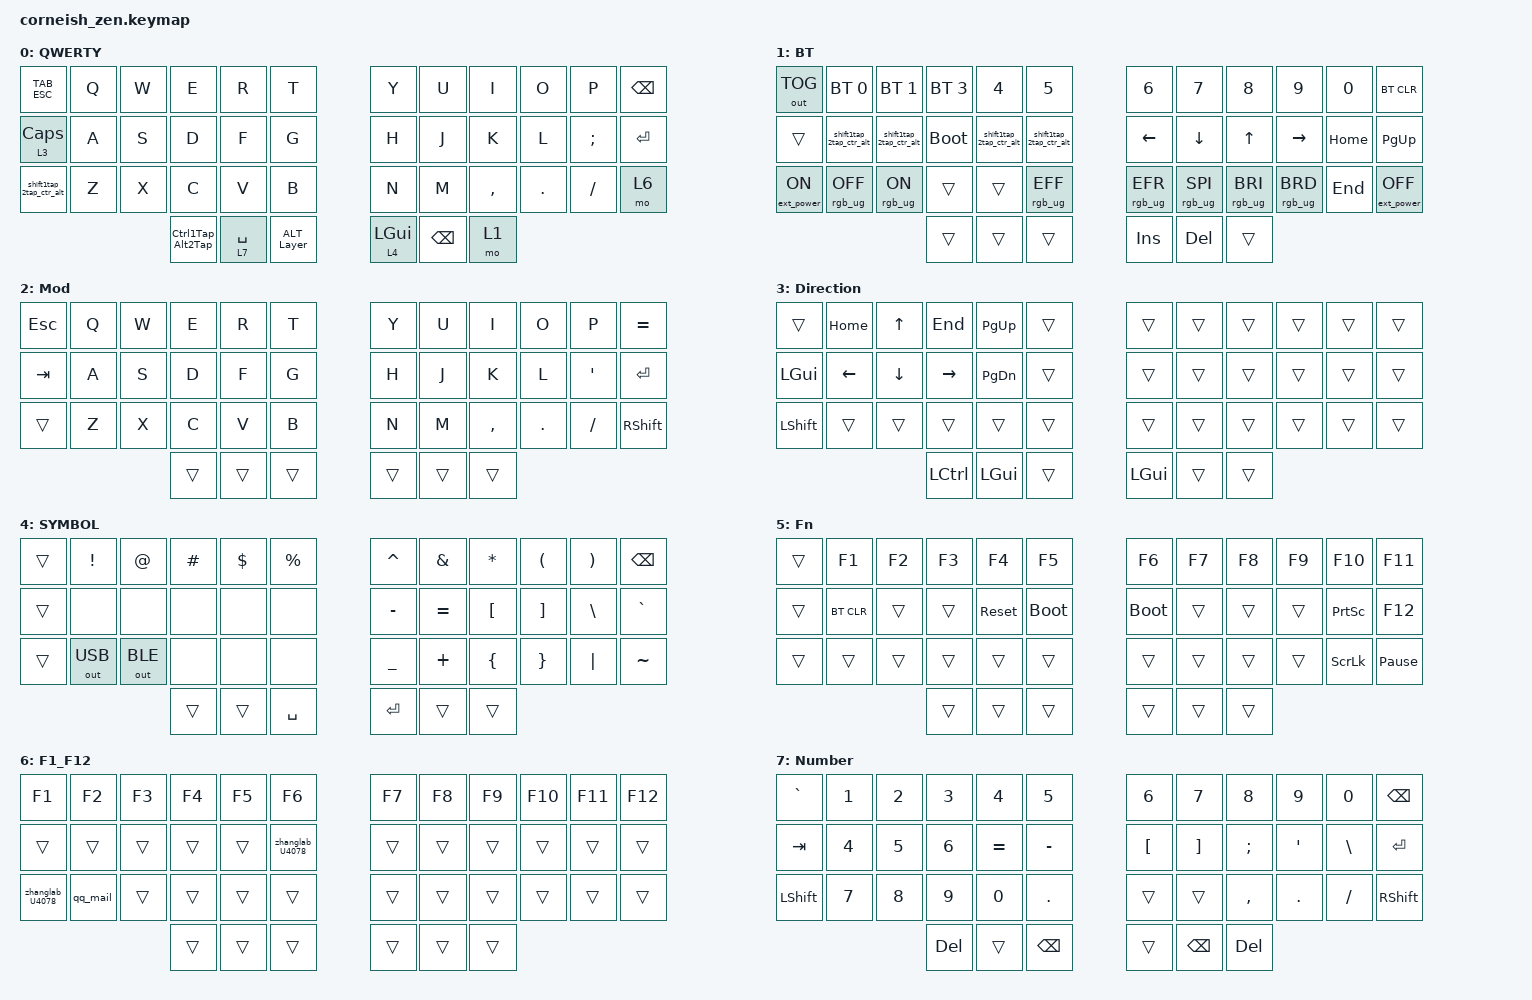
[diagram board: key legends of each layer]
/*
 * Copyright (c) 2020 The ZMK Contributors
 *
 * SPDX-License-Identifier: MIT
 */

#include <behaviors.dtsi>
#include <dt-bindings/zmk/bt.h>
#include <dt-bindings/zmk/ext_power.h>
#include <dt-bindings/zmk/keys.h>
#include <dt-bindings/zmk/outputs.h>
#include <dt-bindings/zmk/rgb.h>

/ {
    chosen {
        zmk,matrix_transform = &default_transform;

        // zmk,matrix_transform = &five_column_transform;
    };
};

/ {
    behaviors {
        shift1tap_2tap_ctr_alt: shift1tap_2tap_ctr_alt {
            compatible = "zmk,behavior-tap-dance";
            label = "SHIFT1TAP_2TAP_CTR_ALT";
            #binding-cells = <0>;
            bindings = <&kp LSHFT>, <&kp LA(LCTRL)>;
        };

        Ctrl1Tap_Alt2Tap: Ctrl1Tap_Alt2Tap {
            compatible = "zmk,behavior-tap-dance";
            label = "CTRL1TAP_ALT2TAP";
            #binding-cells = <0>;
            bindings = <&kp LCTRL>, <&kp LEFT_ALT>;
        };

        ALT_Layer: ALT_Layer {
            compatible = "zmk,behavior-tap-dance";
            label = "ALT_LAYER";
            #binding-cells = <0>;
            bindings = <&kp LEFT_ALT>, <&mo 2>;
        };

        TAB_ESC: TAB_ESC {
            compatible = "zmk,behavior-tap-dance";
            label = "TAB_ESC";
            #binding-cells = <0>;
            bindings = <&kp TAB>, <&kp ESC>;
        };
    };

    macros {
        thu_mail: thu_mail {
            compatible = "zmk,behavior-macro";
            #binding-cells = <0>;
            bindings = <&none &kp Z &kp H &kp E &kp N &kp G &kp L &kp Y &kp N2 &kp N1 &kp AT &kp M &kp A &kp I &kp L &kp S &kp DOT &kp T &kp S &kp I &kp N &kp G &kp H &kp U &kp A &kp DOT &kp E &kp D &kp U &kp DOT &kp C &kp N>;
            label = "thu_mail";
        };

        qq_mail: qq_mail {
            compatible = "zmk,behavior-macro";
            #binding-cells = <0>;
            bindings = <&none &kp N1 &kp N8 &kp N0 &kp N8 &kp N3 &kp N4 &kp N0 &kp N6 &kp N7 &kp AT &kp Q &kp Q &kp DOT &kp C &kp O &kp M>;
            label = "QQ_mail";
        };


    };

    combos { compatible = "zmk,combos"; };

    keymap {
        compatible = "zmk,keymap";

        default_layer {
            display-name = "QWERTY";

            // --------------------------------------------------------------------------------
            // |  TAB |  Q  |  W  |  E  |  R  |  T  |   |  Y  |  U   |  I  |  O  |  P  | BKSP |
            // | CTRL |  A  |  S  |  D  |  F  |  G  |   |  H  |  J   |  K  |  L  |  ;  |  '   | 
            // | SHFT |  Z  |  X  |  C  |  V  |  B  |   |  N  |  M   |  ,  |  .  |  /  | ESC  |
            //                    | GUI | LWR | SPC |   | ENT | RSE  | ALT |

            bindings = <
&TAB_ESC                 &kp Q  &kp W  &kp E              &kp R        &kp T         &kp Y           &kp U          &kp I      &kp O    &kp P     &kp BSPC
&lt 3 CAPS               &kp A  &kp S  &kp D              &kp F        &kp G         &kp H           &kp J          &kp K      &kp L    &kp SEMI  &kp ENTER
&shift1tap_2tap_ctr_alt  &kp Z  &kp X  &kp C              &kp V        &kp B         &kp N           &kp M          &kp COMMA  &kp DOT  &kp FSLH  &mo 6
                                       &Ctrl1Tap_Alt2Tap  &lt 7 SPACE  &ALT_Layer    &lt 4 LEFT_GUI  &kp BACKSPACE  &mo 1
            >;
        };

        Func {
            display-name = "BT";

            // -----------------------------------------------------------------------------------------
            // |  TAB |  1  |  2  |  3  |  4  |  5  |   |  6  |  7  |  8  |  9  |  0  | BKSP |
            // | BTCLR| BT1 | BT2 | BT3 | BT4 | BT5 |   | LFT | DWN |  UP | RGT |     |      |
            // | SHFT |     |     |     |     |     |   |     |     |     |     |     |      |
            //                    | GUI |     | SPC |   | ENT |     | ALT |

            bindings = <
&out OUT_TOG      &bt BT_SEL 0             &bt BT_SEL 1             &bt BT_SEL 3  &kp N4                   &kp N5                     &kp N6           &kp N7           &kp N8           &kp N9           &kp N0    &bt BT_CLR
&trans            &shift1tap_2tap_ctr_alt  &shift1tap_2tap_ctr_alt  &bootloader   &shift1tap_2tap_ctr_alt  &shift1tap_2tap_ctr_alt    &kp LEFT         &kp DOWN         &kp UP           &kp RIGHT        &kp HOME  &kp PG_UP
&ext_power EP_ON  &rgb_ug RGB_OFF          &rgb_ug RGB_ON           &trans        &trans                   &rgb_ug RGB_EFF            &rgb_ug RGB_EFR  &rgb_ug RGB_SPI  &rgb_ug RGB_BRI  &rgb_ug RGB_BRD  &kp END   &ext_power EP_OFF
                                                                    &trans        &trans                   &trans                     &kp INS          &kp DEL          &trans
            >;
        };

        Mod {
            bindings = <
&kp ESC  &kp Q  &kp W  &kp E   &kp R   &kp T     &kp Y   &kp U   &kp I      &kp O    &kp P     &kp EQUAL
&kp TAB  &kp A  &kp S  &kp D   &kp F   &kp G     &kp H   &kp J   &kp K      &kp L    &kp SQT   &kp RET
&trans   &kp Z  &kp X  &kp C   &kp V   &kp B     &kp N   &kp M   &kp COMMA  &kp DOT  &kp FSLH  &kp RSHFT
                       &trans  &trans  &trans    &trans  &trans  &trans
            >;
        };

        Direction {
            bindings = <
&trans        &kp HOME  &kp UP    &kp END    &kp PAGE_UP    &trans    &trans    &trans  &trans  &trans  &trans  &trans
&kp LEFT_GUI  &kp LEFT  &kp DOWN  &kp RIGHT  &kp PAGE_DOWN  &trans    &trans    &trans  &trans  &trans  &trans  &trans
&kp LSHFT     &trans    &trans    &trans     &trans         &trans    &trans    &trans  &trans  &trans  &trans  &trans
                                  &kp LCTRL  &kp LEFT_GUI   &trans    &kp LGUI  &trans  &trans
            >;
        };

        raise_layer {
            display-name = "SYMBOL";

            // -----------------------------------------------------------------------------------------
            // |  TAB |  !  |  @  |  #  |  $  |  %  |   |  ^  |  &  |  *  |  (  |  )  | BKSP |
            // | CTRL |     |     |     |     |     |   |  -  |  =  |  [  |  ]  |  \  |  `   |
            // | SHFT |     |     |     |     |     |   |  _  |  +  |  {  |  }  | "|" |  ~   |
            //                    | GUI |     | SPC |   | ENT |     | ALT |

            bindings = <
&trans  &kp EXCL      &kp AT        &kp HASH  &kp DLLR  &kp PRCNT    &kp CARET  &kp AMPS   &kp ASTRK  &kp LPAR  &kp RPAR  &kp BSPC
&trans  &none         &none         &none     &none     &none        &kp MINUS  &kp EQUAL  &kp LBKT   &kp RBKT  &kp BSLH  &kp GRAVE
&trans  &out OUT_USB  &out OUT_BLE  &none     &none     &none        &kp UNDER  &kp PLUS   &kp LBRC   &kp RBRC  &kp PIPE  &kp TILDE
                                    &trans    &trans    &kp SPACE    &kp RET    &trans     &trans
            >;
        };

        layer_3 {
            display-name = "Fn";
            bindings = <
&trans  &kp F1      &kp F2  &kp F3  &kp F4      &kp F5         &kp F6       &kp F7  &kp F8  &kp F9  &kp F10          &kp F11
&trans  &bt BT_CLR  &trans  &trans  &sys_reset  &bootloader    &bootloader  &trans  &trans  &trans  &kp PRINTSCREEN  &kp F12
&trans  &trans      &trans  &trans  &trans      &trans         &trans       &trans  &trans  &trans  &kp SCROLLLOCK   &kp PAUSE_BREAK
                            &trans  &trans      &trans         &trans       &trans  &trans
            >;
        };

        F1_F12 {
            bindings = <
&kp F1           &kp F2    &kp F3  &kp F4  &kp F5  &kp F6             &kp F7  &kp F8  &kp F9  &kp F10  &kp F11  &kp F12
&trans           &trans    &trans  &trans  &trans  &zhanglab_U4078    &trans  &trans  &trans  &trans   &trans   &trans
&zhanglab_U4078  &qq_mail  &trans  &trans  &trans  &trans             &trans  &trans  &trans  &trans   &trans   &trans
                                   &trans  &trans  &trans             &trans  &trans  &trans
            >;
        };

        Number {
            bindings = <
&kp GRAVE  &kp N1  &kp N2  &kp N3   &kp N4     &kp N5       &kp N6    &kp N7    &kp N8     &kp N9    &kp N0    &kp BSPC
&kp TAB    &kp N4  &kp N5  &kp N6   &kp EQUAL  &kp MINUS    &kp LBKT  &kp RBKT  &kp SEMI   &kp APOS  &kp BSLH  &kp ENTER
&kp LSHFT  &kp N7  &kp N8  &kp N9   &kp N0     &kp DOT      &trans    &trans    &kp COMMA  &kp DOT   &kp FSLH  &kp RSHFT
                           &kp DEL  &trans     &kp BSPC     &trans    &kp BSPC  &kp DEL
            >;
        };
    };
};
